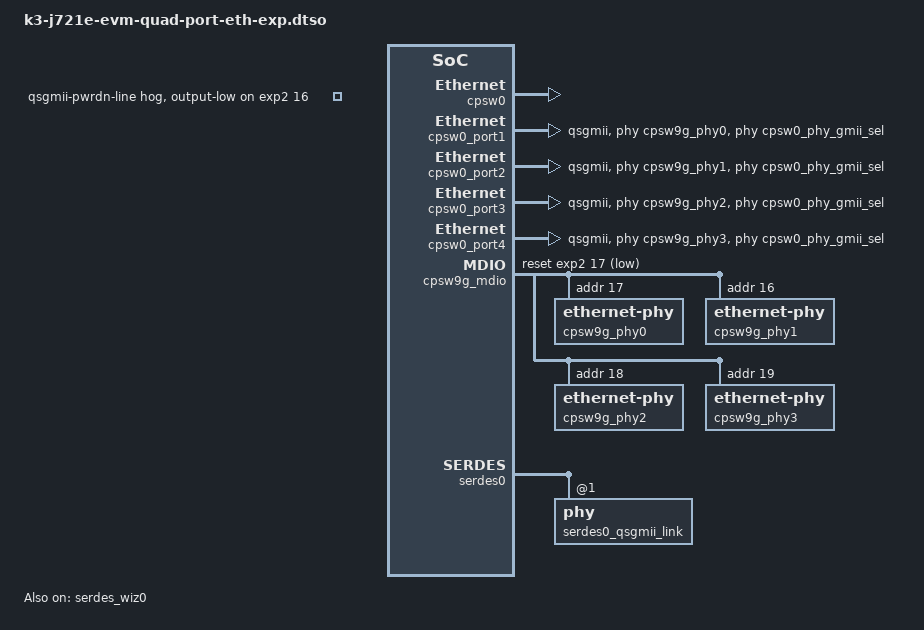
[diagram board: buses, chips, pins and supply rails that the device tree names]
// SPDX-License-Identifier: GPL-2.0
/**
 * DT Overlay for CPSW9G in QSGMII mode using J7 Quad Port ETH EXP Add-On Ethernet Card with
 * J721E board.
 *
 * Copyright (C) 2023 Texas Instruments Incorporated - https://www.ti.com/
 */

/dts-v1/;
/plugin/;

#include <dt-bindings/gpio/gpio.h>
#include <dt-bindings/phy/phy.h>
#include <dt-bindings/phy/phy-cadence.h>

#include "k3-pinctrl.h"
#include "k3-serdes.h"

&{/} {
	aliases {
		ethernet1 = "/bus@100000/ethernet@c000000/ethernet-ports/port@1";
		ethernet2 = "/bus@100000/ethernet@c000000/ethernet-ports/port@2";
		ethernet3 = "/bus@100000/ethernet@c000000/ethernet-ports/port@3";
		ethernet4 = "/bus@100000/ethernet@c000000/ethernet-ports/port@4";
	};
};

&cpsw0 {
	status = "okay";
};

&cpsw0_port1 {
	status = "okay";
	phy-handle = <&cpsw9g_phy0>;
	phy-mode = "qsgmii";
	mac-address = [00 00 00 00 00 00];
	phys = <&cpsw0_phy_gmii_sel 1>;
};

&cpsw0_port2 {
	status = "okay";
	phy-handle = <&cpsw9g_phy1>;
	phy-mode = "qsgmii";
	mac-address = [00 00 00 00 00 00];
	phys = <&cpsw0_phy_gmii_sel 2>;
};

&cpsw0_port3 {
	status = "okay";
	phy-handle = <&cpsw9g_phy2>;
	phy-mode = "qsgmii";
	mac-address = [00 00 00 00 00 00];
	phys = <&cpsw0_phy_gmii_sel 3>;
};

&cpsw0_port4 {
	status = "okay";
	phy-handle = <&cpsw9g_phy3>;
	phy-mode = "qsgmii";
	mac-address = [00 00 00 00 00 00];
	phys = <&cpsw0_phy_gmii_sel 4>;
};

&cpsw9g_mdio {
	status = "okay";
	pinctrl-names = "default";
	pinctrl-0 = <&mdio0_pins_default>;
	reset-gpios = <&exp2 17 GPIO_ACTIVE_LOW>;
	reset-post-delay-us = <120000>;
	#address-cells = <1>;
	#size-cells = <0>;

	cpsw9g_phy0: ethernet-phy@17 {
		reg = <17>;
	};
	cpsw9g_phy1: ethernet-phy@16 {
		reg = <16>;
	};
	cpsw9g_phy2: ethernet-phy@18 {
		reg = <18>;
	};
	cpsw9g_phy3: ethernet-phy@19 {
		reg = <19>;
	};
};

&exp2 {
	qsgmii-line-hog {
		gpio-hog;
		gpios = <16 GPIO_ACTIVE_HIGH>;
		output-low;
		line-name = "qsgmii-pwrdn-line";
	};
};

&main_pmx0 {
	mdio0_pins_default: mdio0-default-pins {
		pinctrl-single,pins = <
			J721E_IOPAD(0x1bc, PIN_OUTPUT, 0) /* (V24) MDIO0_MDC */
			J721E_IOPAD(0x1b8, PIN_INPUT, 0) /* (V26) MDIO0_MDIO */
		>;
	};
};

&serdes_ln_ctrl {
	idle-states = <J721E_SERDES0_LANE0_PCIE0_LANE0>, <J721E_SERDES0_LANE1_QSGMII_LANE2>,
		      <J721E_SERDES1_LANE0_PCIE1_LANE0>, <J721E_SERDES1_LANE1_PCIE1_LANE1>,
		      <J721E_SERDES2_LANE0_PCIE2_LANE0>, <J721E_SERDES2_LANE1_PCIE2_LANE1>,
		      <J721E_SERDES3_LANE0_USB3_0_SWAP>, <J721E_SERDES3_LANE1_USB3_0>,
		      <J721E_SERDES4_LANE0_EDP_LANE0>, <J721E_SERDES4_LANE1_EDP_LANE1>,
		      <J721E_SERDES4_LANE2_EDP_LANE2>, <J721E_SERDES4_LANE3_EDP_LANE3>;
};

&serdes_wiz0 {
	status = "okay";
};

&serdes0 {
	status = "okay";

	assigned-clocks = <&serdes0 CDNS_SIERRA_PLL_CMNLC>, <&serdes0 CDNS_SIERRA_PLL_CMNLC1>;
	assigned-clock-parents = <&wiz0_pll1_refclk>, <&wiz0_pll1_refclk>;
	#address-cells = <1>;
	#size-cells = <0>;

	serdes0_qsgmii_link: phy@1 {
		reg = <1>;
		cdns,num-lanes = <1>;
		#phy-cells = <0>;
		cdns,phy-type = <PHY_TYPE_QSGMII>;
		resets = <&serdes_wiz0 2>;
	};
};
